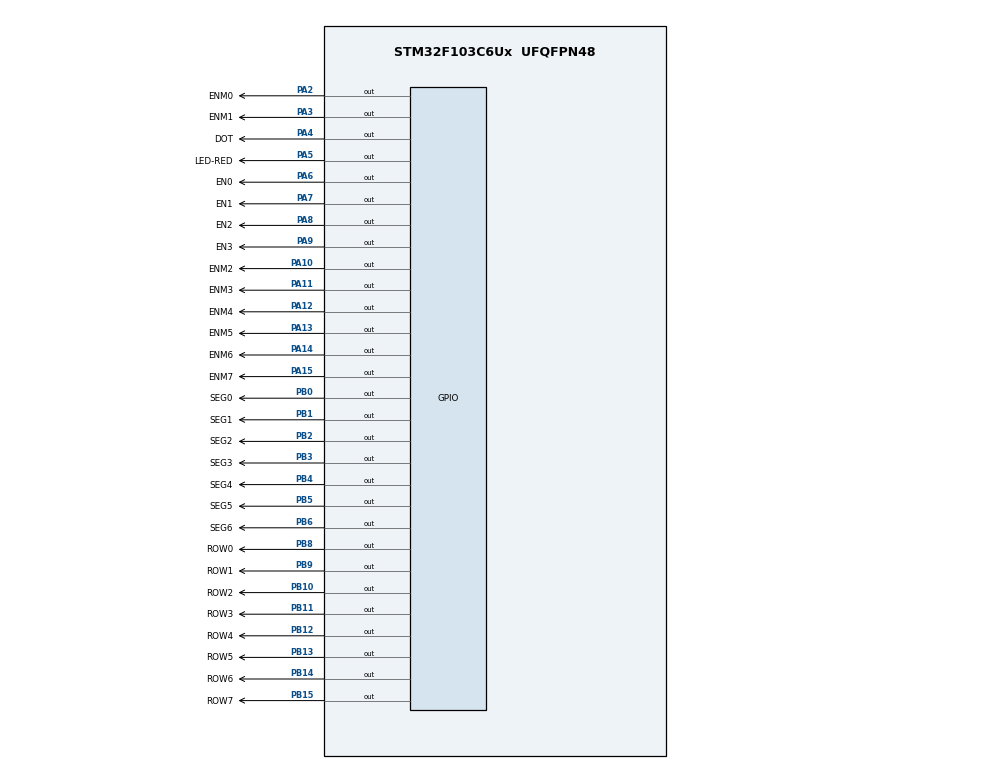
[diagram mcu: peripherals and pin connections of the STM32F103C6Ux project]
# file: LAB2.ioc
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Mcu.Family=STM32F1
Mcu.Name=STM32F103C6Ux
Mcu.Package=UFQFPN48
NVIC.PriorityGroup=NVIC_PRIORITYGROUP_4
NVIC.TIM2_IRQn=true\:0\:0\:false\:false\:true\:true\:true
PA10.GPIO_Label=ENM2
PA10.Signal=GPIO_Output
PA11.GPIO_Label=ENM3
PA11.Signal=GPIO_Output
PA12.GPIO_Label=ENM4
PA12.Signal=GPIO_Output
PA13.GPIO_Label=ENM5
PA13.Signal=GPIO_Output
PA14.GPIO_Label=ENM6
PA14.Signal=GPIO_Output
PA15.GPIO_Label=ENM7
PA15.Signal=GPIO_Output
PA2.GPIO_Label=ENM0
PA2.Signal=GPIO_Output
PA3.GPIO_Label=ENM1
PA3.Signal=GPIO_Output
PA4.GPIO_Label=DOT
PA4.Signal=GPIO_Output
PA5.GPIO_Label=LED-RED
PA5.Signal=GPIO_Output
PA6.GPIO_Label=EN0
PA6.Signal=GPIO_Output
PA7.GPIO_Label=EN1
PA7.Signal=GPIO_Output
PA8.GPIO_Label=EN2
PA8.Signal=GPIO_Output
PA9.GPIO_Label=EN3
PA9.Signal=GPIO_Output
PB0.GPIO_Label=SEG0
PB0.Signal=GPIO_Output
PB1.GPIO_Label=SEG1
PB1.Signal=GPIO_Output
PB10.GPIO_Label=ROW2
PB10.Signal=GPIO_Output
PB11.GPIO_Label=ROW3
PB11.Signal=GPIO_Output
PB12.GPIO_Label=ROW4
PB12.Signal=GPIO_Output
PB13.GPIO_Label=ROW5
PB13.Signal=GPIO_Output
PB14.GPIO_Label=ROW6
PB14.Signal=GPIO_Output
PB15.GPIO_Label=ROW7
PB15.Signal=GPIO_Output
PB2.GPIO_Label=SEG2
PB2.Signal=GPIO_Output
PB3.GPIO_Label=SEG3
PB3.Signal=GPIO_Output
PB4.GPIO_Label=SEG4
PB4.Signal=GPIO_Output
PB5.GPIO_Label=SEG5
PB5.Signal=GPIO_Output
PB6.GPIO_Label=SEG6
PB6.Signal=GPIO_Output
PB8.GPIO_Label=ROW0
PB8.Signal=GPIO_Output
PB9.GPIO_Label=ROW1
PB9.Signal=GPIO_Output
ProjectManager.HeapSize=0x200
ProjectManager.StackSize=0x400
ProjectManager.TargetToolchain=STM32CubeIDE
RCC.APB1Freq_Value=8000000
RCC.APB2Freq_Value=8000000
TIM2.Period=9
TIM2.Prescaler=7999
VP_SYS_VS_ND.Mode=No_Debug
VP_TIM2_VS_ClockSourceINT.Mode=Internal
board=custom

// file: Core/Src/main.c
/* USER CODE BEGIN Header */
/**
  ******************************************************************************
  * @file           : main.c
  * @brief          : Main program body
  ******************************************************************************
  * @attention
  *
  * <h2><center>&copy; Copyright (c) 2022 STMicroelectronics.
  * All rights reserved.</center></h2>
  *
  * This software component is licensed by ST under BSD 3-Clause license,
  * the "License"; You may not use this file except in compliance with the
  * License. You may obtain a copy of the License at:
  *                        opensource.org/licenses/BSD-3-Clause
  *
  ******************************************************************************
  */
/* USER CODE END Header */
#include "main.h"

/* USER CODE BEGIN Includes */
#include "software_timer.h"
/* USER CODE END Includes */

TIM_HandleTypeDef htim2;

void SystemClock_Config(void);
static void MX_GPIO_Init(void);
static void MX_TIM2_Init(void);

/* USER CODE BEGIN 0 */
void display7SEG(int counter){
	switch(counter){
	case 0:
		  HAL_GPIO_WritePin(SEG0_GPIO_Port, SEG0_Pin, RESET);
		  HAL_GPIO_WritePin(SEG1_GPIO_Port, SEG1_Pin, RESET);
		  HAL_GPIO_WritePin(SEG2_GPIO_Port, SEG2_Pin, RESET);
		  HAL_GPIO_WritePin(SEG3_GPIO_Port, SEG3_Pin, RESET);
		  HAL_GPIO_WritePin(SEG4_GPIO_Port, SEG4_Pin, RESET);
		  HAL_GPIO_WritePin(SEG5_GPIO_Port, SEG5_Pin, RESET);
		  HAL_GPIO_WritePin(SEG6_GPIO_Port, SEG6_Pin, SET);
		  break;
	case 1:

			  HAL_GPIO_WritePin(SEG0_GPIO_Port, SEG0_Pin, SET);
			  HAL_GPIO_WritePin(SEG1_GPIO_Port, SEG1_Pin, RESET);
			  HAL_GPIO_WritePin(SEG2_GPIO_Port, SEG2_Pin, RESET);
			  HAL_GPIO_WritePin(SEG3_GPIO_Port, SEG3_Pin, SET);
			  HAL_GPIO_WritePin(SEG4_GPIO_Port, SEG4_Pin, SET);
			  HAL_GPIO_WritePin(SEG5_GPIO_Port, SEG5_Pin, SET);
			  HAL_GPIO_WritePin(SEG6_GPIO_Port, SEG6_Pin, SET);

			  break;
	case 2:

		  HAL_GPIO_WritePin(SEG0_GPIO_Port, SEG0_Pin, RESET);
		  HAL_GPIO_WritePin(SEG1_GPIO_Port, SEG1_Pin, RESET);
		  HAL_GPIO_WritePin(SEG2_GPIO_Port, SEG2_Pin, SET);
		  HAL_GPIO_WritePin(SEG3_GPIO_Port, SEG3_Pin, RESET);
		  HAL_GPIO_WritePin(SEG4_GPIO_Port, SEG4_Pin, RESET);
		  HAL_GPIO_WritePin(SEG5_GPIO_Port, SEG5_Pin, SET);
		  HAL_GPIO_WritePin(SEG6_GPIO_Port, SEG6_Pin, RESET);

		  break;
	case 3:
		  HAL_GPIO_WritePin(SEG0_GPIO_Port, SEG0_Pin, RESET);
		  HAL_GPIO_WritePin(SEG1_GPIO_Port, SEG1_Pin, RESET);
		  HAL_GPIO_WritePin(SEG2_GPIO_Port, SEG2_Pin, RESET);
		  HAL_GPIO_WritePin(SEG3_GPIO_Port, SEG3_Pin, RESET);
		  HAL_GPIO_WritePin(SEG4_GPIO_Port, SEG4_Pin, SET);
		  HAL_GPIO_WritePin(SEG5_GPIO_Port, SEG5_Pin, SET);
		  HAL_GPIO_WritePin(SEG6_GPIO_Port, SEG6_Pin, RESET);
		  break;
	case 4:
		  HAL_GPIO_WritePin(SEG0_GPIO_Port, SEG0_Pin, SET);
		  HAL_GPIO_WritePin(SEG1_GPIO_Port, SEG1_Pin, RESET);
		  HAL_GPIO_WritePin(SEG2_GPIO_Port, SEG2_Pin, RESET);
		  HAL_GPIO_WritePin(SEG3_GPIO_Port, SEG3_Pin, SET);
		  HAL_GPIO_WritePin(SEG4_GPIO_Port, SEG4_Pin, SET);
		  HAL_GPIO_WritePin(SEG5_GPIO_Port, SEG5_Pin, RESET);
		  HAL_GPIO_WritePin(SEG6_GPIO_Port, SEG6_Pin, RESET);
		  break;
	case 5:
		  HAL_GPIO_WritePin(SEG0_GPIO_Port, SEG0_Pin, RESET);
		  HAL_GPIO_WritePin(SEG1_GPIO_Port, SEG1_Pin, SET);
		  HAL_GPIO_WritePin(SEG2_GPIO_Port, SEG2_Pin, RESET);
		  HAL_GPIO_WritePin(SEG3_GPIO_Port, SEG3_Pin, RESET);
		  HAL_GPIO_WritePin(SEG4_GPIO_Port, SEG4_Pin, SET);
		  HAL_GPIO_WritePin(SEG5_GPIO_Port, SEG5_Pin, RESET);
		  HAL_GPIO_WritePin(SEG6_GPIO_Port, SEG6_Pin, RESET);

		break;
	case 6:
		  HAL_GPIO_WritePin(SEG0_GPIO_Port, SEG0_Pin, RESET);
		  HAL_GPIO_WritePin(SEG1_GPIO_Port, SEG1_Pin, SET);
		  HAL_GPIO_WritePin(SEG2_GPIO_Port, SEG2_Pin, RESET);
		  HAL_GPIO_WritePin(SEG3_GPIO_Port, SEG3_Pin, RESET);
		  HAL_GPIO_WritePin(SEG4_GPIO_Port, SEG4_Pin, RESET);
		  HAL_GPIO_WritePin(SEG5_GPIO_Port, SEG5_Pin, RESET);
		  HAL_GPIO_WritePin(SEG6_GPIO_Port, SEG6_Pin, RESET);

	    break;
	case 7:
		  HAL_GPIO_WritePin(SEG0_GPIO_Port, SEG0_Pin, RESET);
		  HAL_GPIO_WritePin(SEG1_GPIO_Port, SEG1_Pin, RESET);
		  HAL_GPIO_WritePin(SEG2_GPIO_Port, SEG2_Pin, RESET);
		  HAL_GPIO_WritePin(SEG3_GPIO_Port, SEG3_Pin, SET);
		  HAL_GPIO_WritePin(SEG4_GPIO_Port, SEG4_Pin, SET);
		  HAL_GPIO_WritePin(SEG5_GPIO_Port, SEG5_Pin, SET);
		  HAL_GPIO_WritePin(SEG6_GPIO_Port, SEG6_Pin, SET);
	    break;
	case 8:
		  HAL_GPIO_WritePin(SEG0_GPIO_Port, SEG0_Pin, RESET);
		  HAL_GPIO_WritePin(SEG1_GPIO_Port, SEG1_Pin, RESET);
		  HAL_GPIO_WritePin(SEG2_GPIO_Port, SEG2_Pin, RESET);
		  HAL_GPIO_WritePin(SEG3_GPIO_Port, SEG3_Pin, RESET);
		  HAL_GPIO_WritePin(SEG4_GPIO_Port, SEG4_Pin, RESET);
		  HAL_GPIO_WritePin(SEG5_GPIO_Port, SEG5_Pin, RESET);
		  HAL_GPIO_WritePin(SEG6_GPIO_Port, SEG6_Pin, RESET);
		break;
	case 9:
		  HAL_GPIO_WritePin(SEG0_GPIO_Port, SEG0_Pin, RESET);
		  HAL_GPIO_WritePin(SEG1_GPIO_Port, SEG1_Pin, RESET);
		  HAL_GPIO_WritePin(SEG2_GPIO_Port, SEG2_Pin, RESET);
		  HAL_GPIO_WritePin(SEG3_GPIO_Port, SEG3_Pin, RESET);
		  HAL_GPIO_WritePin(SEG4_GPIO_Port, SEG4_Pin, SET);
		  HAL_GPIO_WritePin(SEG5_GPIO_Port, SEG5_Pin, RESET);
		  HAL_GPIO_WritePin(SEG6_GPIO_Port, SEG6_Pin, RESET);

		break;

	}
}

const int MAX_LED=4;
int index_led=0;
int led_buffer[4]={1,5,0,8};
void update7SEG(int index){
	switch(index){
	case 0:

		 HAL_GPIO_WritePin(EN1_GPIO_Port, EN1_Pin, SET);
		 HAL_GPIO_WritePin(EN2_GPIO_Port, EN2_Pin, SET);
		 HAL_GPIO_WritePin(EN3_GPIO_Port, EN3_Pin, SET);

		display7SEG(led_buffer[index]);
		break;
	case 1:
		 HAL_GPIO_WritePin(EN0_GPIO_Port, EN0_Pin, SET);

		 HAL_GPIO_WritePin(EN2_GPIO_Port, EN2_Pin, SET);
		 HAL_GPIO_WritePin(EN3_GPIO_Port, EN3_Pin, SET);
		display7SEG(led_buffer[index]);
		break;
	case 2:
		 HAL_GPIO_WritePin(EN0_GPIO_Port, EN0_Pin, SET);
		 HAL_GPIO_WritePin(EN1_GPIO_Port, EN1_Pin, SET);

		 HAL_GPIO_WritePin(EN3_GPIO_Port, EN3_Pin, SET);

		display7SEG(led_buffer[index]);
		break;
	case 3:
		 HAL_GPIO_WritePin(EN0_GPIO_Port, EN0_Pin, SET);
		 HAL_GPIO_WritePin(EN1_GPIO_Port, EN1_Pin, SET);
		 HAL_GPIO_WritePin(EN2_GPIO_Port, EN2_Pin, SET);

		display7SEG(led_buffer[index]);
		break;
	default:
		break;
	}

}

int hour = 15, minute = 8, second = 50;
void updateClockBuffer(){
	int remainder=hour%10;

		led_buffer[0]=hour/10;
		led_buffer[1]=remainder;

	remainder=minute%10;

		led_buffer[2]=minute/10;
		led_buffer[3]=remainder;

}

const int MAX_LED_MATRIX = 8;
int index_led_matrix = 0;
uint8_t matrix_buffer[8] = {0x01, 0x02, 0x03, 0x04, 0x05, 0x06, 0x07, 0x08};

void scanningRow(uint8_t rowPositon) {
	switch(rowPositon) {
	case 0x00:
		HAL_GPIO_WritePin(ROW0_GPIO_Port, ROW0_Pin, SET);
		HAL_GPIO_WritePin(ROW1_GPIO_Port, ROW1_Pin, SET);
		HAL_GPIO_WritePin(ROW2_GPIO_Port, ROW2_Pin, SET);
		HAL_GPIO_WritePin(ROW3_GPIO_Port, ROW3_Pin, SET);
		HAL_GPIO_WritePin(ROW4_GPIO_Port, ROW4_Pin, SET);
		HAL_GPIO_WritePin(ROW5_GPIO_Port, ROW5_Pin, SET);
		HAL_GPIO_WritePin(ROW6_GPIO_Port, ROW6_Pin, SET);
		HAL_GPIO_WritePin(ROW7_GPIO_Port, ROW7_Pin, SET);
		break;
	case 0xc0:
		HAL_GPIO_WritePin(ROW0_GPIO_Port, ROW0_Pin, SET);
		HAL_GPIO_WritePin(ROW1_GPIO_Port, ROW1_Pin, SET);
		HAL_GPIO_WritePin(ROW2_GPIO_Port, ROW2_Pin, RESET);
		HAL_GPIO_WritePin(ROW3_GPIO_Port, ROW3_Pin, RESET);
		HAL_GPIO_WritePin(ROW4_GPIO_Port, ROW4_Pin, RESET);
		HAL_GPIO_WritePin(ROW5_GPIO_Port, ROW5_Pin, RESET);
		HAL_GPIO_WritePin(ROW6_GPIO_Port, ROW6_Pin, RESET);
		HAL_GPIO_WritePin(ROW7_GPIO_Port, ROW7_Pin, RESET);
		break;
	case 0x80:
		HAL_GPIO_WritePin(ROW0_GPIO_Port, ROW0_Pin, SET);
		HAL_GPIO_WritePin(ROW1_GPIO_Port, ROW1_Pin, RESET);
		HAL_GPIO_WritePin(ROW2_GPIO_Port, ROW2_Pin, RESET);
		HAL_GPIO_WritePin(ROW3_GPIO_Port, ROW3_Pin, RESET);
		HAL_GPIO_WritePin(ROW4_GPIO_Port, ROW4_Pin, RESET);
		HAL_GPIO_WritePin(ROW5_GPIO_Port, ROW5_Pin, RESET);
		HAL_GPIO_WritePin(ROW6_GPIO_Port, ROW6_Pin, RESET);
		HAL_GPIO_WritePin(ROW7_GPIO_Port, ROW7_Pin, RESET);
		break;
	case 0x33:
		HAL_GPIO_WritePin(ROW0_GPIO_Port, ROW0_Pin, RESET);
		HAL_GPIO_WritePin(ROW1_GPIO_Port, ROW1_Pin, RESET);
		HAL_GPIO_WritePin(ROW2_GPIO_Port, ROW2_Pin, SET);
		HAL_GPIO_WritePin(ROW3_GPIO_Port, ROW3_Pin, SET);
		HAL_GPIO_WritePin(ROW4_GPIO_Port, ROW4_Pin, RESET);
		HAL_GPIO_WritePin(ROW5_GPIO_Port, ROW5_Pin, RESET);
		HAL_GPIO_WritePin(ROW6_GPIO_Port, ROW6_Pin, SET);
		HAL_GPIO_WritePin(ROW7_GPIO_Port, ROW7_Pin, SET);
		break;
	default:
		HAL_GPIO_WritePin(ROW0_GPIO_Port, ROW0_Pin, SET);
		HAL_GPIO_WritePin(ROW1_GPIO_Port, ROW1_Pin, SET);
		HAL_GPIO_WritePin(ROW2_GPIO_Port, ROW2_Pin, SET);
		HAL_GPIO_WritePin(ROW3_GPIO_Port, ROW3_Pin, SET);
		HAL_GPIO_WritePin(ROW4_GPIO_Port, ROW4_Pin, SET);
		HAL_GPIO_WritePin(ROW5_GPIO_Port, ROW5_Pin, SET);
		HAL_GPIO_WritePin(ROW6_GPIO_Port, ROW6_Pin, SET);
		HAL_GPIO_WritePin(ROW7_GPIO_Port, ROW7_Pin, SET);
		break;
	}
}

void updateLEDMatrix(int index) {
	switch(index) {
		case 0:
			HAL_GPIO_WritePin(ENM0_GPIO_Port, ENM0_Pin, RESET);
			HAL_GPIO_WritePin(ENM1_GPIO_Port, ENM1_Pin, SET);
			HAL_GPIO_WritePin(ENM2_GPIO_Port, ENM2_Pin, SET);
			HAL_GPIO_WritePin(ENM3_GPIO_Port, ENM3_Pin, SET);
			HAL_GPIO_WritePin(ENM4_GPIO_Port, ENM4_Pin, SET);
			HAL_GPIO_WritePin(ENM5_GPIO_Port, ENM5_Pin, SET);
			HAL_GPIO_WritePin(ENM6_GPIO_Port, ENM6_Pin, SET);
			HAL_GPIO_WritePin(ENM7_GPIO_Port, ENM7_Pin, SET);
			break;
		case 1:
			HAL_GPIO_WritePin(ENM0_GPIO_Port, ENM0_Pin, SET);
			HAL_GPIO_WritePin(ENM1_GPIO_Port, ENM1_Pin, RESET);
			HAL_GPIO_WritePin(ENM2_GPIO_Port, ENM2_Pin, SET);
			HAL_GPIO_WritePin(ENM3_GPIO_Port, ENM3_Pin, SET);
			HAL_GPIO_WritePin(ENM4_GPIO_Port, ENM4_Pin, SET);
			HAL_GPIO_WritePin(ENM5_GPIO_Port, ENM5_Pin, SET);
			HAL_GPIO_WritePin(ENM6_GPIO_Port, ENM6_Pin, SET);
			HAL_GPIO_WritePin(ENM7_GPIO_Port, ENM7_Pin, SET);
			break;
		case 2:
			HAL_GPIO_WritePin(ENM0_GPIO_Port, ENM0_Pin, SET);
			HAL_GPIO_WritePin(ENM1_GPIO_Port, ENM1_Pin, SET);
			HAL_GPIO_WritePin(ENM2_GPIO_Port, ENM2_Pin, RESET);
			HAL_GPIO_WritePin(ENM3_GPIO_Port, ENM3_Pin, SET);
			HAL_GPIO_WritePin(ENM4_GPIO_Port, ENM4_Pin, SET);
			HAL_GPIO_WritePin(ENM5_GPIO_Port, ENM5_Pin, SET);
			HAL_GPIO_WritePin(ENM6_GPIO_Port, ENM6_Pin, SET);
			HAL_GPIO_WritePin(ENM7_GPIO_Port, ENM7_Pin, SET);
			break;
		case 3:
			HAL_GPIO_WritePin(ENM0_GPIO_Port, ENM0_Pin, SET);
			HAL_GPIO_WritePin(ENM1_GPIO_Port, ENM1_Pin, SET);
			HAL_GPIO_WritePin(ENM2_GPIO_Port, ENM2_Pin, SET);
			HAL_GPIO_WritePin(ENM3_GPIO_Port, ENM3_Pin, RESET);
			HAL_GPIO_WritePin(ENM4_GPIO_Port, ENM4_Pin, SET);
			HAL_GPIO_WritePin(ENM5_GPIO_Port, ENM5_Pin, SET);
			HAL_GPIO_WritePin(ENM6_GPIO_Port, ENM6_Pin, SET);
			HAL_GPIO_WritePin(ENM7_GPIO_Port, ENM7_Pin, SET);
			break;
		case 4:
			HAL_GPIO_WritePin(ENM0_GPIO_Port, ENM0_Pin, SET);
			HAL_GPIO_WritePin(ENM1_GPIO_Port, ENM1_Pin, SET);
			HAL_GPIO_WritePin(ENM2_GPIO_Port, ENM2_Pin, SET);
			HAL_GPIO_WritePin(ENM3_GPIO_Port, ENM3_Pin, SET);
			HAL_GPIO_WritePin(ENM4_GPIO_Port, ENM4_Pin, RESET);
			HAL_GPIO_WritePin(ENM5_GPIO_Port, ENM5_Pin, SET);
			HAL_GPIO_WritePin(ENM6_GPIO_Port, ENM6_Pin, SET);
			HAL_GPIO_WritePin(ENM7_GPIO_Port, ENM7_Pin, SET);
			break;
		case 5:
			HAL_GPIO_WritePin(ENM0_GPIO_Port, ENM0_Pin, SET);
			HAL_GPIO_WritePin(ENM1_GPIO_Port, ENM1_Pin, SET);
			HAL_GPIO_WritePin(ENM2_GPIO_Port, ENM2_Pin, SET);
			HAL_GPIO_WritePin(ENM3_GPIO_Port, ENM3_Pin, SET);
			HAL_GPIO_WritePin(ENM4_GPIO_Port, ENM4_Pin, SET);
			HAL_GPIO_WritePin(ENM5_GPIO_Port, ENM5_Pin, RESET);
			HAL_GPIO_WritePin(ENM6_GPIO_Port, ENM6_Pin, SET);
			HAL_GPIO_WritePin(ENM7_GPIO_Port, ENM7_Pin, SET);
			break;
		case 6:
			HAL_GPIO_WritePin(ENM0_GPIO_Port, ENM0_Pin, SET);
			HAL_GPIO_WritePin(ENM1_GPIO_Port, ENM1_Pin, SET);
			HAL_GPIO_WritePin(ENM2_GPIO_Port, ENM2_Pin, SET);
			HAL_GPIO_WritePin(ENM3_GPIO_Port, ENM3_Pin, SET);
			HAL_GPIO_WritePin(ENM4_GPIO_Port, ENM4_Pin, SET);
			HAL_GPIO_WritePin(ENM5_GPIO_Port, ENM5_Pin, SET);
			HAL_GPIO_WritePin(ENM6_GPIO_Port, ENM6_Pin, RESET);
			HAL_GPIO_WritePin(ENM7_GPIO_Port, ENM7_Pin, SET);
			break;
		case 7:
			HAL_GPIO_WritePin(ENM0_GPIO_Port, ENM0_Pin, SET);
			HAL_GPIO_WritePin(ENM1_GPIO_Port, ENM1_Pin, SET);
			HAL_GPIO_WritePin(ENM2_GPIO_Port, ENM2_Pin, SET);
			HAL_GPIO_WritePin(ENM3_GPIO_Port, ENM3_Pin, SET);
			HAL_GPIO_WritePin(ENM4_GPIO_Port, ENM4_Pin, SET);
			HAL_GPIO_WritePin(ENM5_GPIO_Port, ENM5_Pin, SET);
			HAL_GPIO_WritePin(ENM6_GPIO_Port, ENM6_Pin, SET);
			HAL_GPIO_WritePin(ENM7_GPIO_Port, ENM7_Pin, RESET);
			break;
		default:
			HAL_GPIO_WritePin(ENM0_GPIO_Port, ENM0_Pin, SET);
			HAL_GPIO_WritePin(ENM1_GPIO_Port, ENM1_Pin, SET);
			HAL_GPIO_WritePin(ENM2_GPIO_Port, ENM2_Pin, SET);
			HAL_GPIO_WritePin(ENM3_GPIO_Port, ENM3_Pin, SET);
			HAL_GPIO_WritePin(ENM4_GPIO_Port, ENM4_Pin, SET);
			HAL_GPIO_WritePin(ENM5_GPIO_Port, ENM5_Pin, SET);
			HAL_GPIO_WritePin(ENM6_GPIO_Port, ENM6_Pin, SET);
			HAL_GPIO_WritePin(ENM7_GPIO_Port, ENM7_Pin, SET);
			break;
	}
	scanningRow(matrix_buffer[index]);
}

void rotate_left( uint8_t matrix_buffer[], size_t size )
{
   if ( size > 1 )
   {
      uint8_t tmp = matrix_buffer[0];
      matrix_buffer[0] = matrix_buffer[1];
      matrix_buffer[1] = tmp;
      rotate_left( matrix_buffer + 1, size - 1 );
   }
}
/* USER CODE END 0 */

int main(void)
{

  /* MCU Configuration--------------------------------------------------------*/

  /* Reset of all peripherals, Initializes the Flash interface and the Systick. */
  HAL_Init();

  /* Configure the system clock */
  SystemClock_Config();

  /* Initialize all configured peripherals */
  MX_GPIO_Init();
  MX_TIM2_Init();
  /* USER CODE BEGIN 2 */
  HAL_TIM_Base_Start_IT(&htim2);
  /* USER CODE END 2 */

  /* Infinite loop */
  /* USER CODE BEGIN WHILE */

  /*

  */

  setTimer0(10);
  setTimer1(10);
  setTimer2(20);
  setTimer3(1);
  setTimer4(1);

  matrix_buffer[0] = 0x00;
  matrix_buffer[1] = 0xc0;
  matrix_buffer[2] = 0x80;
  matrix_buffer[3] = 0x33;
  matrix_buffer[4] = 0x33;
  matrix_buffer[5] = 0x80;
  matrix_buffer[6] = 0xc0;
  matrix_buffer[7] = 0x00;
  int counter=0;
  while (1)
  {
    /* USER CODE END WHILE */
	  if ( timer0_flag == 1) {
		  setTimer0 (10) ;
		  second++;
		  if (second >= 60) {
			  second = 0;
			  minute++;
		  }

		  if (minute >= 60) {
			  minute = 0;
			  hour++;
		  }

		  if (hour >= 24) {
			  hour = 0;
		  }
		  updateClockBuffer();
	  }

	  if ( timer1_flag == 1) {
			 update7SEG(index_led++);
				 if(counter==0){

					 HAL_GPIO_WritePin(EN0_GPIO_Port, EN0_Pin, RESET);
					 counter=1;
				 }else if(counter==1){
					 HAL_GPIO_WritePin(EN1_GPIO_Port, EN1_Pin, RESET);
					 counter=2;
				 }else if(counter==2){
					 HAL_GPIO_WritePin(EN2_GPIO_Port, EN2_Pin, RESET);
					 counter=3;
				 }else{
					 HAL_GPIO_WritePin(EN3_GPIO_Port, EN3_Pin, RESET);
					 counter=0;
				 }

				 if(index_led>=MAX_LED){
					 index_led=0;
				 }

		  setTimer1(10);
	  }

	  if ( timer2_flag == 1) {
		  HAL_GPIO_TogglePin ( DOT_GPIO_Port, DOT_Pin ) ;
		  setTimer2 (20) ;
	  }

	  if ( timer3_flag == 1) {
		  updateLEDMatrix(index_led_matrix++);
		  if (index_led_matrix >= 8) index_led_matrix = 0;
		  setTimer3(1);
	  }

	  if ( timer4_flag == 1) {
		  rotate_left(matrix_buffer,8);
		  setTimer4(1);
	  }

  }
}

void SystemClock_Config(void)
{
  RCC_OscInitTypeDef RCC_OscInitStruct = {0};
  RCC_ClkInitTypeDef RCC_ClkInitStruct = {0};

  /** Initializes the RCC Oscillators according to the specified parameters
  * in the RCC_OscInitTypeDef structure.
  */
  RCC_OscInitStruct.OscillatorType = RCC_OSCILLATORTYPE_HSI;
  RCC_OscInitStruct.HSIState = RCC_HSI_ON;
  RCC_OscInitStruct.HSICalibrationValue = RCC_HSICALIBRATION_DEFAULT;
  RCC_OscInitStruct.PLL.PLLState = RCC_PLL_NONE;
  if (HAL_RCC_OscConfig(&RCC_OscInitStruct) != HAL_OK)
  {
    Error_Handler();
  }
  /** Initializes the CPU, AHB and APB buses clocks
  */
  RCC_ClkInitStruct.ClockType = RCC_CLOCKTYPE_HCLK|RCC_CLOCKTYPE_SYSCLK
                              |RCC_CLOCKTYPE_PCLK1|RCC_CLOCKTYPE_PCLK2;
  RCC_ClkInitStruct.SYSCLKSource = RCC_SYSCLKSOURCE_HSI;
  RCC_ClkInitStruct.AHBCLKDivider = RCC_SYSCLK_DIV1;
  RCC_ClkInitStruct.APB1CLKDivider = RCC_HCLK_DIV1;
  RCC_ClkInitStruct.APB2CLKDivider = RCC_HCLK_DIV1;

  if (HAL_RCC_ClockConfig(&RCC_ClkInitStruct, FLASH_LATENCY_0) != HAL_OK)
  {
    Error_Handler();
  }
}

static void MX_TIM2_Init(void)
{

  TIM_ClockConfigTypeDef sClockSourceConfig = {0};
  TIM_MasterConfigTypeDef sMasterConfig = {0};

  htim2.Instance = TIM2;
  htim2.Init.Prescaler = 7999;
  htim2.Init.CounterMode = TIM_COUNTERMODE_UP;
  htim2.Init.Period = 9;
  htim2.Init.ClockDivision = TIM_CLOCKDIVISION_DIV1;
  htim2.Init.AutoReloadPreload = TIM_AUTORELOAD_PRELOAD_DISABLE;
  if (HAL_TIM_Base_Init(&htim2) != HAL_OK)
  {
    Error_Handler();
  }
  sClockSourceConfig.ClockSource = TIM_CLOCKSOURCE_INTERNAL;
  if (HAL_TIM_ConfigClockSource(&htim2, &sClockSourceConfig) != HAL_OK)
  {
    Error_Handler();
  }
  sMasterConfig.MasterOutputTrigger = TIM_TRGO_RESET;
  sMasterConfig.MasterSlaveMode = TIM_MASTERSLAVEMODE_DISABLE;
  if (HAL_TIMEx_MasterConfigSynchronization(&htim2, &sMasterConfig) != HAL_OK)
  {
    Error_Handler();
  }

}

static void MX_GPIO_Init(void)
{
  GPIO_InitTypeDef GPIO_InitStruct = {0};

  /* GPIO Ports Clock Enable */
  __HAL_RCC_GPIOA_CLK_ENABLE();
  __HAL_RCC_GPIOB_CLK_ENABLE();

  /*Configure GPIO pin Output Level */
  HAL_GPIO_WritePin(GPIOA, ENM0_Pin|ENM1_Pin|DOT_Pin|LED_RED_Pin
                          |EN0_Pin|EN1_Pin|EN2_Pin|EN3_Pin
                          |ENM2_Pin|ENM3_Pin|ENM4_Pin|ENM5_Pin
                          |ENM6_Pin|ENM7_Pin, GPIO_PIN_RESET);

  /*Configure GPIO pin Output Level */
  HAL_GPIO_WritePin(GPIOB, SEG0_Pin|SEG1_Pin|SEG2_Pin|ROW2_Pin
                          |ROW3_Pin|ROW4_Pin|ROW5_Pin|ROW6_Pin
                          |ROW7_Pin|SEG3_Pin|SEG4_Pin|SEG5_Pin
                          |SEG6_Pin|ROW0_Pin|ROW1_Pin, GPIO_PIN_RESET);

  /*Configure GPIO pins : ENM0_Pin ENM1_Pin DOT_Pin LED_RED_Pin
                           EN0_Pin EN1_Pin EN2_Pin EN3_Pin
                           ENM2_Pin ENM3_Pin ENM4_Pin ENM5_Pin
                           ENM6_Pin ENM7_Pin */
  GPIO_InitStruct.Pin = ENM0_Pin|ENM1_Pin|DOT_Pin|LED_RED_Pin
                          |EN0_Pin|EN1_Pin|EN2_Pin|EN3_Pin
                          |ENM2_Pin|ENM3_Pin|ENM4_Pin|ENM5_Pin
                          |ENM6_Pin|ENM7_Pin;
  GPIO_InitStruct.Mode = GPIO_MODE_OUTPUT_PP;
  GPIO_InitStruct.Pull = GPIO_NOPULL;
  GPIO_InitStruct.Speed = GPIO_SPEED_FREQ_LOW;
  HAL_GPIO_Init(GPIOA, &GPIO_InitStruct);

  /*Configure GPIO pins : SEG0_Pin SEG1_Pin SEG2_Pin ROW2_Pin
                           ROW3_Pin ROW4_Pin ROW5_Pin ROW6_Pin
                           ROW7_Pin SEG3_Pin SEG4_Pin SEG5_Pin
                           SEG6_Pin ROW0_Pin ROW1_Pin */
  GPIO_InitStruct.Pin = SEG0_Pin|SEG1_Pin|SEG2_Pin|ROW2_Pin
                          |ROW3_Pin|ROW4_Pin|ROW5_Pin|ROW6_Pin
                          |ROW7_Pin|SEG3_Pin|SEG4_Pin|SEG5_Pin
                          |SEG6_Pin|ROW0_Pin|ROW1_Pin;
  GPIO_InitStruct.Mode = GPIO_MODE_OUTPUT_PP;
  GPIO_InitStruct.Pull = GPIO_NOPULL;
  GPIO_InitStruct.Speed = GPIO_SPEED_FREQ_LOW;
  HAL_GPIO_Init(GPIOB, &GPIO_InitStruct);

}

/* USER CODE BEGIN 4 */
void HAL_TIM_PeriodElapsedCallback(TIM_HandleTypeDef *htim) {
	runTime();
}
/* USER CODE END 4 */

void Error_Handler(void)
{
  __disable_irq();
  while (1)
  {
  }
}

/************************ (C) COPYRIGHT STMicroelectronics *****END OF FILE****/
